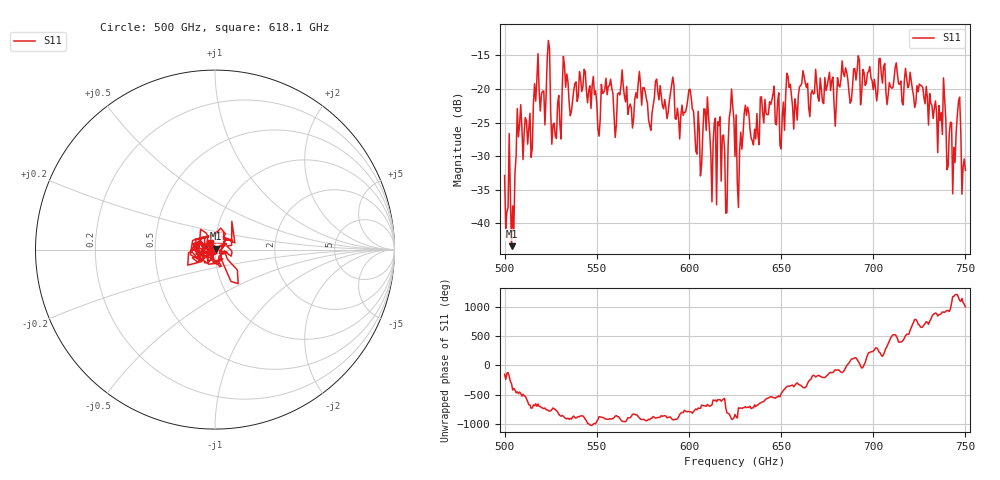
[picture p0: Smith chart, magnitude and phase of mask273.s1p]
!Created with skrf (http://scikit-rf.org).
# GHz S MA R 50.0
!freq magS11 angS11
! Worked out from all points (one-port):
!   401 points, 500 GHz to 750 GHz, reference 50 ohm
!   lowest |S11| = -43.4 dB at 503.8 GHz (marker M1), VSWR 1.01, Z = 50.5 + j0.509 ohm
!   |S11| at or under -10 dB: start of sweep to end of sweep
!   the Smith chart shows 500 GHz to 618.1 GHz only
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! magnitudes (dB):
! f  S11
! 500 GHz  -32.9
! 503.8 GHz  -43.4
! 508.1 GHz  -25.3
! 513.8 GHz  -23.6
! 517.5 GHz  -18.6
! 523.8 GHz  -12.8
! 526.9 GHz  -25.1
! 531.2 GHz  -20.0
! 562.5 GHz  -20.9
! 579.4 GHz  -26.2
! 590.6 GHz  -19.4
! 593.8 GHz  -22.9
! 600.6 GHz  -20.1
! 605.6 GHz  -26.1
! 609.4 GHz  -26.2
! 620 GHz  -38.5
! 623.1 GHz  -20.0
! 625 GHz  -30.1
! 627.5 GHz  -29.2
! 631.2 GHz  -23.9
! 635 GHz  -28.3
! 656.2 GHz  -22.6
! 687.5 GHz  -22.1
! 718.8 GHz  -19.8
! 738.1 GHz  -18.4
! 743.8 GHz  -28.7
! 746.2 GHz  -21.9
! 750 GHz  -32.1
